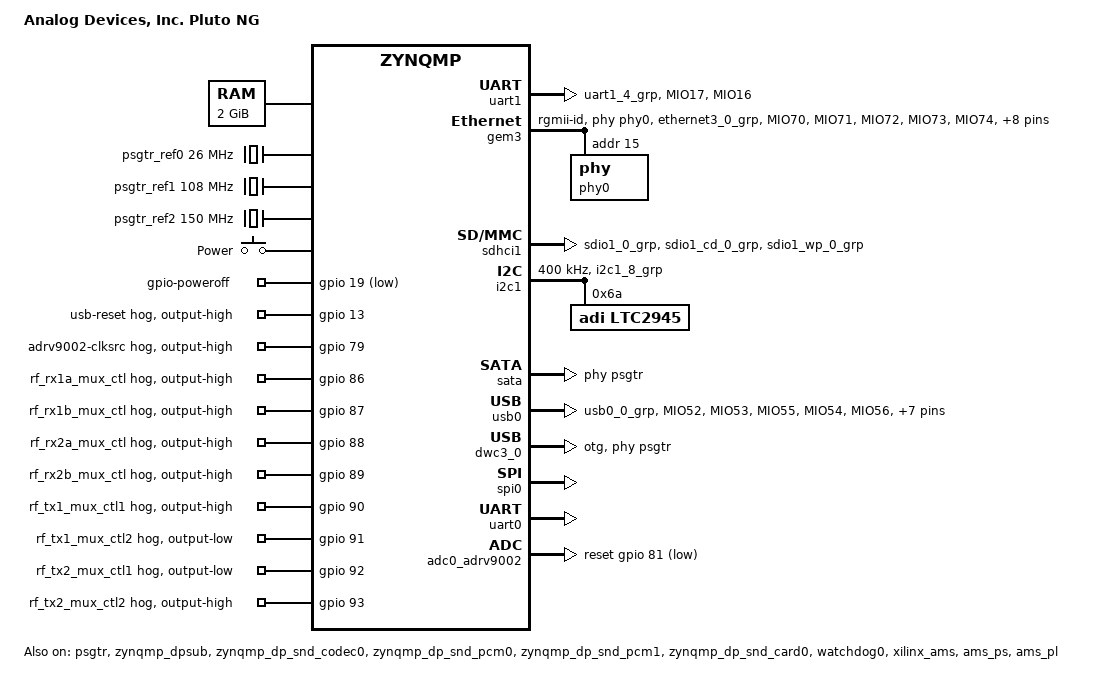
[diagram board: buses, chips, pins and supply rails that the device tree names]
// SPDX-License-Identifier: GPL-2.0
/*
 * dts file for Analog Devices, Inc. Pluto NG
 *
 * hdl_project: <pluto_ng>
 * board_revision: <>
 *
 * Copyright (C) 2021 Analog Devices Inc.
 */

/dts-v1/;

#include "zynqmp.dtsi"
#include "zynqmp-clk-ccf.dtsi"
#include <dt-bindings/interrupt-controller/irq.h>
#include <dt-bindings/input/input.h>
#include <dt-bindings/gpio/gpio.h>
#include <dt-bindings/pinctrl/pinctrl-zynqmp.h>
#include <dt-bindings/phy/phy.h>

/ {
	model = "Analog Devices, Inc. Pluto NG";
	compatible = "xlnx,zynqmp";

	aliases {
		ethernet0 = &gem3;
		mmc0 = &sdhci1;
		rtc0 = &rtc;
		serial0 = &uart1;
		i2c0 = &i2c1;
		spi0 = &spi0;
	};

	chosen {
		bootargs = "earlycon";
		stdout-path = "serial0:115200n8";
	};

	memory@0 {
		device_type = "memory";
		reg = <0x0 0x0 0x0 0x80000000>;
	};

	psgtr_ref0: ad9542_out0_b {
		compatible = "fixed-clock";
		#clock-cells = <0>;
		clock-frequency = <26000000>;
	};

	psgtr_ref1: ad9542_out0_a {
		compatible = "fixed-clock";
		#clock-cells = <0>;
		clock-frequency = <108000000>;
	};

	psgtr_ref2: ad9542_out1_b {
		compatible = "fixed-clock";
		#clock-cells = <0>;
		clock-frequency = <150000000>;
	};
};

&psgtr {
	status = "okay";
	clocks = <&psgtr_ref0>, <&psgtr_ref1>, <&psgtr_ref2>;
	clock-names = "ref0", "ref1", "ref2";
};

&pinctrl0 {
	status = "okay";

	pinctrl_uart1_default: uart1-default {
		mux {
			groups = "uart1_4_grp";
			function = "uart1";
		};

		conf {
			groups = "uart1_4_grp";
			slew-rate = <SLEW_RATE_SLOW>;
			io-standard = <IO_STANDARD_LVCMOS18>;
		};

		conf-rx {
			pins = "MIO17";
			bias-high-impedance;
		};

		conf-tx {
			pins = "MIO16";
			bias-disable;
		};
	};

	pinctrl_gem3_default: gem3-default {
		mux {
			function = "ethernet3";
			groups = "ethernet3_0_grp";
		};

		conf {
			groups = "ethernet3_0_grp";
			slew-rate = <SLEW_RATE_SLOW>;
			io-standard = <IO_STANDARD_LVCMOS18>;
		};

		conf-rx {
			pins = "MIO70", "MIO71", "MIO72",
				"MIO73", "MIO74", "MIO75";
			bias-high-impedance;
			low-power-disable;
		};

		conf-tx {
			pins = "MIO64", "MIO65", "MIO66",
				"MIO67", "MIO68", "MIO69";
			bias-disable;
			low-power-enable;
		};

		mux-mdio {
			function = "mdio3";
			groups = "mdio3_0_grp";
		};

		conf-mdio {
			groups = "mdio3_0_grp";
			slew-rate = <SLEW_RATE_SLOW>;
			io-standard = <IO_STANDARD_LVCMOS18>;
			bias-disable;
		};
	};

	pinctrl_sdhci1_default: sdhci1-default {
		mux {
			groups = "sdio1_0_grp";
			function = "sdio1";
		};

		conf {
			groups = "sdio1_0_grp";
			slew-rate = <SLEW_RATE_SLOW>;
			io-standard = <IO_STANDARD_LVCMOS18>;
			bias-disable;
		};

		mux-cd {
			groups = "sdio1_cd_0_grp";
			function = "sdio1_cd";
		};

		conf-cd {
			groups = "sdio1_cd_0_grp";
			bias-high-impedance;
			bias-pull-up;
			slew-rate = <SLEW_RATE_SLOW>;
			io-standard = <IO_STANDARD_LVCMOS18>;
		};

		mux-wp {
			groups = "sdio1_wp_0_grp";
			function = "sdio1_wp";
		};

		conf-wp {
			groups = "sdio1_wp_0_grp";
			bias-high-impedance;
			bias-pull-up;
			slew-rate = <SLEW_RATE_SLOW>;
			io-standard = <IO_STANDARD_LVCMOS18>;
		};
	};

	pinctrl_i2c1_default: i2c1-default {
		mux {
			groups = "i2c1_8_grp";
			function = "i2c1";
		};

		conf {
			groups = "i2c1_8_grp";
			bias-pull-up;
			slew-rate = <SLEW_RATE_SLOW>;
			io-standard = <IO_STANDARD_LVCMOS18>;
		};
	};

	pinctrl_usb0_default: usb0-default {
		mux {
			groups = "usb0_0_grp";
			function = "usb0";
		};

		conf {
			groups = "usb0_0_grp";
			slew-rate = <SLEW_RATE_SLOW>;
			io-standard = <IO_STANDARD_LVCMOS18>;
		};

		conf-rx {
			pins = "MIO52", "MIO53", "MIO55";
			bias-high-impedance;
		};

		conf-tx {
			pins = "MIO54", "MIO56", "MIO57", "MIO58", "MIO59",
			"MIO60", "MIO61", "MIO62", "MIO63";
			bias-disable;
		};
	};
};

&uart1 {
	status = "okay";
	pinctrl-names = "default";
	pinctrl-0 = <&pinctrl_uart1_default>;
};

&gem3 {
	status = "okay";
	phy-handle = <&phy0>;
	phy-mode = "rgmii-id";
	pinctrl-names = "default";
	pinctrl-0 = <&pinctrl_gem3_default>;

	phy0: phy@f {
		reg = <0xf>;
	};
};

&sdhci1 {
	status = "okay";
	pinctrl-names = "default";
	pinctrl-0 = <&pinctrl_sdhci1_default>;
	xlnx,mio_bank = <1>;
};

&i2c1 {
	status = "okay";
	clock-frequency = <400000>;
	pinctrl-names = "default";
	pinctrl-0 = <&pinctrl_i2c1_default>;

	ltc2945@6a {
		compatible = "adi,ltc2945";
		reg = <0x6a>;
	};
};

&zynqmp_dpsub {
	status = "okay";
	phy-names = "dp-phy0";
	phys = <&psgtr 1 PHY_TYPE_DP 0 1>;
};

&zynqmp_dp_snd_codec0 {
	status = "okay";
};

&zynqmp_dp_snd_pcm0 {
	status = "okay";
};

&zynqmp_dp_snd_pcm1 {
	status = "okay";
};

&zynqmp_dp_snd_card0 {
	status = "okay";
};

&zynqmp_dpdma {
	status = "okay";
};

&sata {
	status = "okay";
	ceva,p0-cominit-params = /bits/ 8 <0x18 0x40 0x18 0x28>;
	ceva,p0-comwake-params = /bits/ 8 <0x06 0x14 0x08 0x0E>;
	ceva,p0-burst-params = /bits/ 8 <0x13 0x08 0x4A 0x06>;
	ceva,p0-retry-params = /bits/ 16 <0x96A4 0x3FFC>;
	ceva,p1-cominit-params = /bits/ 8 <0x18 0x40 0x18 0x28>;
	ceva,p1-comwake-params = /bits/ 8 <0x06 0x14 0x08 0x0E>;
	ceva,p1-burst-params = /bits/ 8 <0x13 0x08 0x4A 0x06>;
	ceva,p1-retry-params = /bits/ 16 <0x96A4 0x3FFC>;
	phy-names = "sata-phy";
	phys = <&psgtr 3 PHY_TYPE_SATA 1 2>;
};

&usb0 {
	status = "okay";
	pinctrl-names = "default";
	pinctrl-0 = <&pinctrl_usb0_default>;
};

&dwc3_0 {
	status = "okay";
	dr_mode = "otg";
	phy-names = "usb3-phy";
	phys = <&psgtr 0 PHY_TYPE_USB3 0 0>;
	maximum-speed = "super-speed";
};

&gpio {
	status = "okay";

	usb_reset {
		gpio-hog;
		gpios = <13 0>;
		output-high;
		line-name = "usb-reset";
	};

	adrv9002_clksrc {
		gpio-hog;
		gpios = <79 0>;
		output-high;
		line-name = "adrv9002-clksrc";
	};

	rf_rx1a_mux_ctl {
		gpio-hog;
		gpios = <86 0>;
		output-high;
		line-name = "rf_rx1a_mux_ctl";
	};
	rf_rx1b_mux_ctl {
		gpio-hog;
		gpios = <87 0>;
		output-high;
		line-name = "rf_rx1b_mux_ctl";
	};
	rf_rx2a_mux_ctl {
		gpio-hog;
		gpios = <88 0>;
		output-high;
		line-name = "rf_rx2a_mux_ctl";
	};
	rf_rx2b_mux_ctl {
		gpio-hog;
		gpios = <89 0>;
		output-high;
		line-name = "rf_rx2b_mux_ctl";
	};
	rf_tx1_mux_ctl1 {
		gpio-hog;
		gpios = <90 0>;
		output-high;
		line-name = "rf_tx1_mux_ctl1";
	};
	rf_tx1_mux_ctl2 {
		gpio-hog;
		gpios = <91 0>;
		output-low;
		line-name = "rf_tx1_mux_ctl2";
	};
	rf_tx2_mux_ctl1 {
		gpio-hog;
		gpios = <92 0>;
		output-low;
		line-name = "rf_tx2_mux_ctl1";
	};
	rf_tx2_mux_ctl2 {
		gpio-hog;
		gpios = <93 0>;
		output-high;
		line-name = "rf_tx2_mux_ctl2";
	};
};

&spi0 {
	status = "okay";
};

&watchdog0 {
	status = "okay";
};

&xilinx_ams {
	status = "okay";
};

&ams_ps {
	status = "okay";
};

&ams_pl {
	status = "okay";
};

&uart0 {
	status = "okay";
};

/ {
	fpga_axi  {
		interrupt-parent = <&gic>;
		compatible = "simple-bus";
		#address-cells = <0x1>;
		#size-cells = <0x1>;
		ranges = <0 0 0 0xffffffff>;

		rx1_dma: dma@84A30000 {
			compatible = "adi,axi-dmac-1.00.a";
			reg = <0x84A30000 0x10000>;
			#dma-cells = <1>;
			interrupts = <0 109 IRQ_TYPE_LEVEL_HIGH>;
			clocks = <&zynqmp_clk 71>;

			adi,channels {
				#size-cells = <0>;
				#address-cells = <1>;

				dma-channel@0 {
					reg = <0>;
					adi,source-bus-width = <64>;
					adi,source-bus-type = <2>;
					adi,destination-bus-width = <64>;
					adi,destination-bus-type = <0>;
				};
			};
		};

		rx2_dma: dma@84A40000 {
			compatible = "adi,axi-dmac-1.00.a";
			reg = <0x84A40000 0x10000>;
			#dma-cells = <1>;
			interrupts = <0 108 IRQ_TYPE_LEVEL_HIGH>;
			clocks = <&zynqmp_clk 71>;

			adi,channels {
				#size-cells = <0>;
				#address-cells	 = <1>;

				dma-channel@0 {
					reg = <0>;
					adi,source-bus-width = <64>;
					adi,source-bus-type = <2>;
					adi,destination-bus-width = <64>;
					adi,destination-bus-type = <0>;
				};
			};
		};

		tx1_dma: dma@84A50000 {
			compatible = "adi,axi-dmac-1.00.a";
			reg = <0x84A50000 0x10000>;
			#dma-cells = <1>;
			interrupts = <0 107 IRQ_TYPE_LEVEL_HIGH>;
			clocks = <&zynqmp_clk 71>;

			adi,channels {
				#size-cells = <0>;
				#address-cells = <1>;

				dma-channel@0 {
					reg = <0>;
					adi,source-bus-width = <64>;
					adi,source-bus-type = <0>;
					adi,destination-bus-width = <64>;
					adi,destination-bus-type = <2>;
				};
			};
		};

		tx2_dma: dma@84A6000 {
			compatible = "adi,axi-dmac-1.00.a";
			reg = <0x84A60000 0x10000>;
			#dma-cells = <1>;
			interrupts = <0 106 IRQ_TYPE_LEVEL_HIGH>;
			clocks = <&zynqmp_clk 71>;

			adi,channels {
				#size-cells = <0>;
				#address-cells = <1>;

				dma-channel@0 {
					reg = <0>;
					adi,source-bus-width = <64>;
					adi,source-bus-type = <0>;
					adi,destination-bus-width = <64>;
					adi,destination-bus-type = <2>;
				};
			};
		};

		axi_adrv9002_core_rx1: axi-adrv9002-rx-lpc@84A00000 {
			compatible = "adi,axi-adrv9002-rx-1.0";
			reg = <0x84A00000 0x6000>;
			clocks = <&adc0_adrv9002 0>;
			dmas = <&rx1_dma 0>;
			dma-names = "rx";
			spibus-connected = <&adc0_adrv9002>;
		};

		axi_adrv9002_core_tx1: axi-adrv9002-tx-lpc@84A04000 {
			compatible = "adi,axi-adrv9002-tx-1.0";
			reg = <0x84A0A000 0x2000>;
			clocks = <&adc0_adrv9002 1>;
			clock-names = "sampl_clk";
			dmas = <&tx1_dma 0>;
			dma-names = "tx";
			adi,axi-dds-default-scale = <0x800>;
			adi,axi-dds-default-frequency = <2000000>;
		};

		axi_adrv9002_core_rx2: axi-adrv9002-rx2-lpc@84A02000 {
			compatible = "adi,axi-adrv9002-rx2-1.0";
			reg = <0x84A09000 0x1000>;
			clocks = <&adc0_adrv9002 3>;
			clock-names = "sampl_clk";
			dmas = <&rx2_dma 0>;
			dma-names = "rx";
		};

		axi_adrv9002_core_tx2: axi-adrv9002-tx2-lpc@84A06000 {
			compatible = "adi,axi-adrv9002-tx-1.0";
			reg = <0x84A0C000 0x2000>;
			clocks = <&adc0_adrv9002 4>;
			clock-names = "sampl_clk";
			dmas = <&tx2_dma 0>;
			dma-names = "tx";
			adi,axi-dds-default-scale = <0x800>;
			adi,axi-dds-default-frequency = <2000000>;
		};

		axi_sysid_0: axi-sysid-0@85000000 {
			compatible = "adi,axi-sysid-1.00.a";
			reg = <0x85000000 0x10000>;
		};
	};

	gpio-keys-power {
		#address-cells = <1>;
		#size-cells = <0>;
		compatible = "gpio-keys";

		power {
			interrupt-parent = <&gpio>;
			interrupts = <20 IRQ_TYPE_EDGE_FALLING>;
			label = "Power";
			linux,code = <KEY_POWER>;
			gpio-key,wakeup;
		};
	};

	gpio-poweroff {
		compatible = "gpio-poweroff";
		gpios = <&gpio 19 GPIO_ACTIVE_LOW>;
	};
};

#define fmc_spi spi0

#include "adi-adrv9002.dtsi"

&adc0_adrv9002 {
	reset-gpios = <&gpio 81 GPIO_ACTIVE_LOW>;
	interrupts = <78 IRQ_TYPE_EDGE_RISING>;
};
